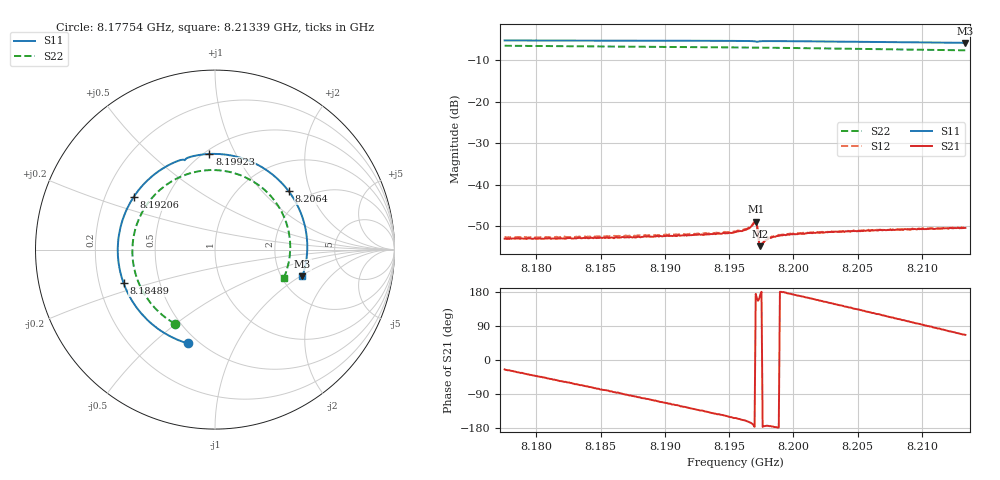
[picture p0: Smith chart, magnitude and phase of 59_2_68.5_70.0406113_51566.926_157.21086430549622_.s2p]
#  HZ  S  RI  R  50.00
! Rohde & Schwarz Vector Network Analyzer
! Rohde-Schwarz,ZNB20-2Port,1311601062101988,3.16
! Created: UTC 3/20/2024, 5:06:19 PM
! freq[Hz]  re:S11  im:S11  re:S21  im:S21  re:S12  im:S12  re:S22  im:S22
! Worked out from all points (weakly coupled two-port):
!   401 points, 8.17754 GHz to 8.21339 GHz, reference 50 ohm
!   highest |S21| = -48.86 dB at 8.19707 GHz (marker M1); lowest = -54.8 dB at 8.19743 GHz (marker M2)
!   lowest |S11| = -5.9 dB at 8.21339 GHz (marker M3), VSWR 3.07, Z = 130 - j52.2 ohm
!   |S11| at or under -10 dB: nowhere
!   |S22| runs from -7.7 to -6.6 dB; largest |S21 - S12| = 0.00017
!   S11 on the Smith chart (normalised r, x): 8.17754 GHz: 0.44, -0.65; 8.18489 GHz: 0.30, -0.16; 8.19206 GHz: 0.32, +0.27; 8.19923 GHz: 0.53, +0.79; 8.2064 GHz: 1.60, +1.44; 8.21339 GHz: 2.59, -1.04
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8.177537e9  -0.1526 -0.5224  0.00204 -0.000944  0.00209 -0.00104  -0.2252 -0.4123
8.180405e9  -0.3282 -0.4335  0.0016 -0.00158  0.00161 -0.00167  -0.3492 -0.3095
8.183542e9  -0.4707 -0.271  0.00091 -0.00208  0.000918 -0.00218  -0.4356 -0.1581
8.184886e9  -0.5098 -0.186  0.000542 -0.00222  0.000532 -0.00234  -0.454 -0.0857
8.187216e9  -0.5413 -0.0273  -0.000142 -0.00232  -0.000182 -0.00243  -0.4577 0.0433
8.189546e9  -0.524 0.1342  -0.000799 -0.00224  -0.000901 -0.0023  -0.4251 0.1685
8.192056e9  -0.4526 0.2941  -0.00152 -0.00195  -0.00162 -0.00198  -0.3519 0.2868
8.195462e9  -0.2805 0.4583  -0.00239 -0.00122  -0.0025 -0.00113  -0.2016 0.4015
8.196358e9  -0.2234 0.4875  -0.00273 -0.000932  -0.00282 -0.000825  -0.1548 0.4202
8.196896e9  -0.1851 0.5001  -0.00333 -0.000495  -0.00345 -0.000373  -0.1258 0.4288
8.196985e9  -0.1781 0.5007  -0.00349 -0.000216  -0.00358 -8.53e-05  -0.1209 0.4299
8.197075e9  -0.1716 0.4999  -0.00359 0.000344  -0.00361 0.000469  -0.116 0.4312
8.197433e9  -0.1586 0.5082  -0.00181 0.000231  -0.00183 0.000286  -0.0965 0.4354
8.197523e9  -0.1522 0.5115  -0.00186 7.74e-08  -0.00193 9.96e-05  -0.0915 0.4365
8.19815e9  -0.1074 0.5239  -0.00229 -0.000222  -0.00232 -0.000108  -0.0562 0.4413
8.199226e9  -0.0312 0.533  -0.00248 2.49e-05  -0.0025 0.000156  0.00487 0.4429
8.201466e9  0.126 0.5161  -0.00248 0.000824  -0.00249 0.000937  0.1298 0.4189
8.203797e9  0.2763 0.45  -0.00218 0.00163  -0.00214 0.00173  0.2479 0.356
8.206396e9  0.4107 0.325  -0.00152 0.0024  -0.00148 0.00244  0.351 0.2452
8.207471e9  0.4521 0.2607  -0.00114 0.00263  -0.00107 0.00264  0.3814 0.1891
8.210429e9  0.5123 0.06  2.46e-05 0.00295  0.000111 0.00296  0.4192 0.0167
8.213387e9  0.4868 -0.1492  0.00122 0.00277  0.00129 0.00278  0.3822 -0.1601
